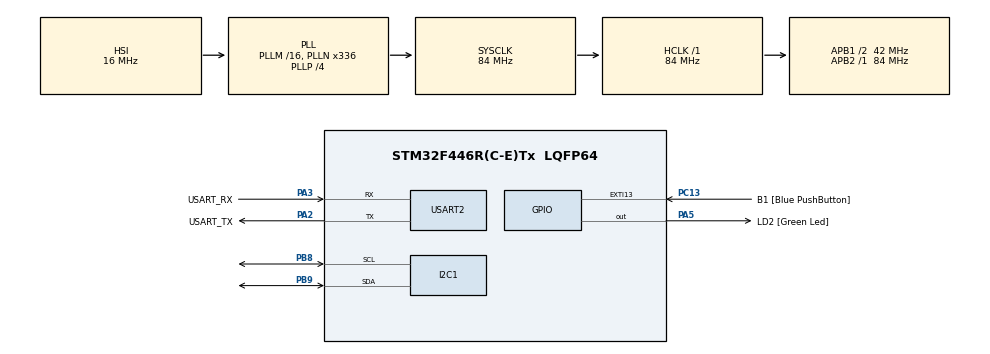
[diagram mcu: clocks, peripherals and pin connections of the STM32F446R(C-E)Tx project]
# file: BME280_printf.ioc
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Mcu.Family=STM32F4
Mcu.Name=STM32F446R(C-E)Tx
Mcu.Package=LQFP64
NVIC.PriorityGroup=NVIC_PRIORITYGROUP_0
PA13.GPIO_Label=TMS
PA13.Mode=Serial_Wire
PA13.Signal=SYS_JTMS-SWDIO
PA14.GPIO_Label=TCK
PA14.Mode=Serial_Wire
PA14.Signal=SYS_JTCK-SWCLK
PA2.GPIO_Label=USART_TX
PA2.Mode=Asynchronous
PA2.Signal=USART2_TX
PA3.GPIO_Label=USART_RX
PA3.Mode=Asynchronous
PA3.Signal=USART2_RX
PA5.GPIO_Label=LD2 [Green Led]
PA5.Signal=GPIO_Output
PB3.GPIO_Label=SWO
PB3.Signal=SYS_JTDO-SWO
PB8.Mode=I2C
PB8.Signal=I2C1_SCL
PB9.Mode=I2C
PB9.Signal=I2C1_SDA
PC13.GPIO_Label=B1 [Blue PushButton]
PC13.GPIO_ModeDefaultEXTI=GPIO_MODE_IT_FALLING
PC13.Signal=GPXTI13
PC14-OSC32_IN.Mode=LSE-External-Oscillator
PC14-OSC32_IN.Signal=RCC_OSC32_IN
PC15-OSC32_OUT.Mode=LSE-External-Oscillator
PC15-OSC32_OUT.Signal=RCC_OSC32_OUT
PH0-OSC_IN.Mode=HSE-External-Oscillator
PH0-OSC_IN.Signal=RCC_OSC_IN
PH1-OSC_OUT.Mode=HSE-External-Oscillator
PH1-OSC_OUT.Signal=RCC_OSC_OUT
ProjectManager.HeapSize=0x200
ProjectManager.StackSize=0x400
ProjectManager.TargetToolchain=STM32CubeIDE
RCC.48MHZClocksFreq_Value=84000000
RCC.AHBFreq_Value=84000000
RCC.APB1CLKDivider=RCC_HCLK_DIV2
RCC.APB1Freq_Value=42000000
RCC.APB1TimFreq_Value=84000000
RCC.APB2Freq_Value=84000000
RCC.APB2TimFreq_Value=84000000
RCC.CortexFreq_Value=84000000
RCC.FLatency-AdvancedSettings=FLASH_LATENCY_2
RCC.HCLKFreq_Value=84000000
RCC.HSE_VALUE=8000000
RCC.HSI_VALUE=16000000
RCC.PLLN=336
RCC.PLLP=RCC_PLLP_DIV4
RCC.SYSCLKFreq_VALUE=84000000
RCC.SYSCLKSource=RCC_SYSCLKSOURCE_PLLCLK
RCC.USBFreq_Value=168000000
RCC.VCOOutputFreq_Value=336000000
USART2.VirtualMode=VM_ASYNC
board=NUCLEO-F446RE

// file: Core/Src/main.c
/* USER CODE BEGIN Header */
/**
  ******************************************************************************
  * @file           : main.c
  * @brief          : Main program body
  ******************************************************************************
  * @attention
  *
  * Copyright (c) 2023 STMicroelectronics.
  * All rights reserved.
  *
  * This software is licensed under terms that can be found in the LICENSE file
  * in the root directory of this software component.
  * If no LICENSE file comes with this software, it is provided AS-IS.
  *
  ******************************************************************************
  */
/* USER CODE END Header */
#include "main.h"

/* USER CODE BEGIN Includes */
#include <stdio.h>
#include "bme280.h"
#include <string.h>
/* USER CODE END Includes */

I2C_HandleTypeDef hi2c1;

UART_HandleTypeDef huart2;

/* USER CODE BEGIN PV */
float temperature;
float humidity;
float pressure;

struct bme280_dev dev;
struct bme280_data comp_data;
int8_t rslt;

char hum_string[50];
char temp_string[50];
char press_string[50];
/* USER CODE END PV */

void SystemClock_Config(void);
static void MX_GPIO_Init(void);
static void MX_USART2_UART_Init(void);
static void MX_I2C1_Init(void);
/* USER CODE BEGIN PFP */
#ifdef __GNUC__
#define PUTCHAR_PROTOTYPE int __io_putchar(int ch)
#else
#define PUTCHAR_PROTOTYPE int fputc(int ch, FILE *f)
#endif

PUTCHAR_PROTOTYPE
{
  HAL_UART_Transmit(&huart2, (uint8_t *)&ch, 1, HAL_MAX_DELAY);
  return ch;
}

int8_t user_i2c_read(uint8_t id, uint8_t reg_addr, uint8_t *data, uint16_t len)
{
  if(HAL_I2C_Master_Transmit(&hi2c1, (id << 1), &reg_addr, 1, 10) != HAL_OK) return -1;
  if(HAL_I2C_Master_Receive(&hi2c1, (id << 1) | 0x01, data, len, 10) != HAL_OK) return -1;

  return 0;
}

void user_delay_ms(uint32_t period)
{
  HAL_Delay(period);
}

int8_t user_i2c_write(uint8_t id, uint8_t reg_addr, uint8_t *data, uint16_t len)
{
  int8_t *buf;
  buf = malloc(len +1);
  buf[0] = reg_addr;
  memcpy(buf +1, data, len);

  if(HAL_I2C_Master_Transmit(&hi2c1, (id << 1), (uint8_t*)buf, len + 1, HAL_MAX_DELAY) != HAL_OK) return -1;

  free(buf);
  return 0;
}
/* USER CODE END PFP */

int main(void)
{

  /* MCU Configuration--------------------------------------------------------*/

  /* Reset of all peripherals, Initializes the Flash interface and the Systick. */
  HAL_Init();

  /* Configure the system clock */
  SystemClock_Config();

  /* Initialize all configured peripherals */
  MX_GPIO_Init();
  MX_USART2_UART_Init();
  MX_I2C1_Init();
  /* USER CODE BEGIN 2 */
  /* BME280 init */
  dev.dev_id = BME280_I2C_ADDR_SEC;
  dev.intf = BME280_I2C_INTF;
  dev.read = user_i2c_read;
  dev.write = user_i2c_write;
  dev.delay_ms = user_delay_ms;

  rslt = bme280_init(&dev);

  /* BME280 settings */
  dev.settings.osr_h = BME280_OVERSAMPLING_1X;
  dev.settings.osr_p = BME280_OVERSAMPLING_16X;
  dev.settings.osr_t = BME280_OVERSAMPLING_2X;
  dev.settings.filter = BME280_FILTER_COEFF_16;
  rslt = bme280_set_sensor_settings(BME280_OSR_PRESS_SEL | BME280_OSR_TEMP_SEL | BME280_OSR_HUM_SEL | BME280_FILTER_SEL, &dev);
  /* USER CODE END 2 */

  /* Infinite loop */
  while (1)
  {

    /* USER CODE BEGIN 3 */
	  rslt = bme280_set_sensor_mode(BME280_FORCED_MODE, &dev);
	  dev.delay_ms(40);
	  /*Get Data */
	  rslt = bme280_get_sensor_data(BME280_ALL, &comp_data, &dev);
	  if(rslt == BME280_OK)
	  {
		temperature = comp_data.temperature / 100.0;
		humidity = comp_data.humidity / 1024.0;
		pressure = comp_data.pressure / 10000.0;
		printf("temperature: %4.2f %4.2f %4.2f\r\n", temperature, humidity, pressure);
	  } else {
		  if (HAL_UART_Transmit(&huart2, "Error ", 6, 100)) {
			  Error_Handler();
			  HAL_Delay(500);
		  }
	  }
	  HAL_Delay(100);
  }
  /* USER CODE END 3 */
}

void SystemClock_Config(void)
{
  RCC_OscInitTypeDef RCC_OscInitStruct = {0};
  RCC_ClkInitTypeDef RCC_ClkInitStruct = {0};

  /** Configure the main internal regulator output voltage
  */
  __HAL_RCC_PWR_CLK_ENABLE();
  __HAL_PWR_VOLTAGESCALING_CONFIG(PWR_REGULATOR_VOLTAGE_SCALE3);

  /** Initializes the RCC Oscillators according to the specified parameters
  * in the RCC_OscInitTypeDef structure.
  */
  RCC_OscInitStruct.OscillatorType = RCC_OSCILLATORTYPE_HSI;
  RCC_OscInitStruct.HSIState = RCC_HSI_ON;
  RCC_OscInitStruct.HSICalibrationValue = RCC_HSICALIBRATION_DEFAULT;
  RCC_OscInitStruct.PLL.PLLState = RCC_PLL_ON;
  RCC_OscInitStruct.PLL.PLLSource = RCC_PLLSOURCE_HSI;
  RCC_OscInitStruct.PLL.PLLM = 16;
  RCC_OscInitStruct.PLL.PLLN = 336;
  RCC_OscInitStruct.PLL.PLLP = RCC_PLLP_DIV4;
  RCC_OscInitStruct.PLL.PLLQ = 2;
  RCC_OscInitStruct.PLL.PLLR = 2;
  if (HAL_RCC_OscConfig(&RCC_OscInitStruct) != HAL_OK)
  {
    Error_Handler();
  }

  /** Initializes the CPU, AHB and APB buses clocks
  */
  RCC_ClkInitStruct.ClockType = RCC_CLOCKTYPE_HCLK|RCC_CLOCKTYPE_SYSCLK
                              |RCC_CLOCKTYPE_PCLK1|RCC_CLOCKTYPE_PCLK2;
  RCC_ClkInitStruct.SYSCLKSource = RCC_SYSCLKSOURCE_PLLCLK;
  RCC_ClkInitStruct.AHBCLKDivider = RCC_SYSCLK_DIV1;
  RCC_ClkInitStruct.APB1CLKDivider = RCC_HCLK_DIV2;
  RCC_ClkInitStruct.APB2CLKDivider = RCC_HCLK_DIV1;

  if (HAL_RCC_ClockConfig(&RCC_ClkInitStruct, FLASH_LATENCY_2) != HAL_OK)
  {
    Error_Handler();
  }
}

static void MX_I2C1_Init(void)
{

  hi2c1.Instance = I2C1;
  hi2c1.Init.ClockSpeed = 100000;
  hi2c1.Init.DutyCycle = I2C_DUTYCYCLE_2;
  hi2c1.Init.OwnAddress1 = 0;
  hi2c1.Init.AddressingMode = I2C_ADDRESSINGMODE_7BIT;
  hi2c1.Init.DualAddressMode = I2C_DUALADDRESS_DISABLE;
  hi2c1.Init.OwnAddress2 = 0;
  hi2c1.Init.GeneralCallMode = I2C_GENERALCALL_DISABLE;
  hi2c1.Init.NoStretchMode = I2C_NOSTRETCH_DISABLE;
  if (HAL_I2C_Init(&hi2c1) != HAL_OK)
  {
    Error_Handler();
  }

}

static void MX_USART2_UART_Init(void)
{

  huart2.Instance = USART2;
  huart2.Init.BaudRate = 115200;
  huart2.Init.WordLength = UART_WORDLENGTH_8B;
  huart2.Init.StopBits = UART_STOPBITS_1;
  huart2.Init.Parity = UART_PARITY_NONE;
  huart2.Init.Mode = UART_MODE_TX_RX;
  huart2.Init.HwFlowCtl = UART_HWCONTROL_NONE;
  huart2.Init.OverSampling = UART_OVERSAMPLING_16;
  if (HAL_UART_Init(&huart2) != HAL_OK)
  {
    Error_Handler();
  }

}

static void MX_GPIO_Init(void)
{
  GPIO_InitTypeDef GPIO_InitStruct = {0};

  /* GPIO Ports Clock Enable */
  __HAL_RCC_GPIOC_CLK_ENABLE();
  __HAL_RCC_GPIOH_CLK_ENABLE();
  __HAL_RCC_GPIOA_CLK_ENABLE();
  __HAL_RCC_GPIOB_CLK_ENABLE();

  /*Configure GPIO pin Output Level */
  HAL_GPIO_WritePin(LD2_GPIO_Port, LD2_Pin, GPIO_PIN_RESET);

  /*Configure GPIO pin : B1_Pin */
  GPIO_InitStruct.Pin = B1_Pin;
  GPIO_InitStruct.Mode = GPIO_MODE_IT_FALLING;
  GPIO_InitStruct.Pull = GPIO_NOPULL;
  HAL_GPIO_Init(B1_GPIO_Port, &GPIO_InitStruct);

  /*Configure GPIO pin : LD2_Pin */
  GPIO_InitStruct.Pin = LD2_Pin;
  GPIO_InitStruct.Mode = GPIO_MODE_OUTPUT_PP;
  GPIO_InitStruct.Pull = GPIO_NOPULL;
  GPIO_InitStruct.Speed = GPIO_SPEED_FREQ_LOW;
  HAL_GPIO_Init(LD2_GPIO_Port, &GPIO_InitStruct);

}

void Error_Handler(void)
{
  __disable_irq();
  while (1)
  {
  }
}
